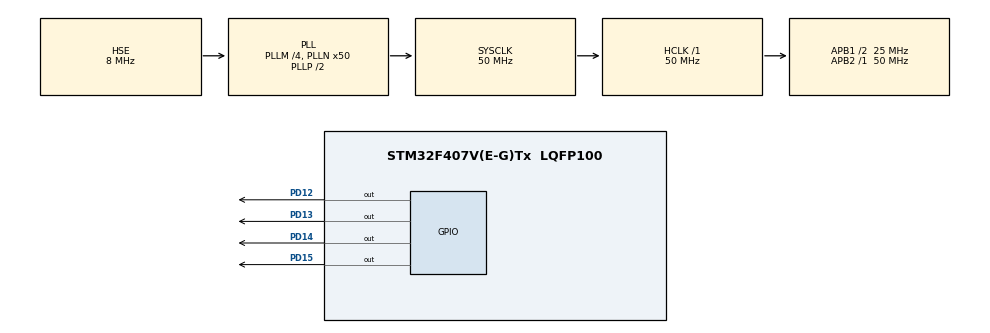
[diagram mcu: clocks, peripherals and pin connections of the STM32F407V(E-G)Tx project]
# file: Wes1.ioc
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Mcu.Family=STM32F4
Mcu.Name=STM32F407V(E-G)Tx
Mcu.Package=LQFP100
NVIC.PriorityGroup=NVIC_PRIORITYGROUP_4
NVIC.TIM2_IRQn=true\:0\:0\:false\:false\:true\:true\:true
PD12.GPIO_Speed=GPIO_SPEED_FREQ_VERY_HIGH
PD12.Signal=GPIO_Output
PD13.GPIO_Speed=GPIO_SPEED_FREQ_VERY_HIGH
PD13.Signal=GPIO_Output
PD14.GPIO_Speed=GPIO_SPEED_FREQ_VERY_HIGH
PD14.Signal=GPIO_Output
PD15.GPIO_Speed=GPIO_SPEED_FREQ_VERY_HIGH
PD15.Signal=GPIO_Output
PH0-OSC_IN.Mode=HSE-External-Oscillator
PH0-OSC_IN.Signal=RCC_OSC_IN
PH1-OSC_OUT.Mode=HSE-External-Oscillator
PH1-OSC_OUT.Signal=RCC_OSC_OUT
ProjectManager.HeapSize=0x200
ProjectManager.StackSize=0x400
ProjectManager.TargetToolchain=STM32CubeIDE
RCC.48MHZClocksFreq_Value=25000000
RCC.AHBFreq_Value=50000000
RCC.APB1CLKDivider=RCC_HCLK_DIV2
RCC.APB1Freq_Value=25000000
RCC.APB1TimFreq_Value=50000000
RCC.APB2Freq_Value=50000000
RCC.APB2TimFreq_Value=50000000
RCC.CortexFreq_Value=50000000
RCC.HCLKFreq_Value=50000000
RCC.HSE_VALUE=8000000
RCC.HSI_VALUE=16000000
RCC.LSE_VALUE=32768
RCC.PLLM=4
RCC.PLLN=50
RCC.PLLSourceVirtual=RCC_PLLSOURCE_HSE
RCC.SYSCLKFreq_VALUE=50000000
RCC.SYSCLKSource=RCC_SYSCLKSOURCE_PLLCLK
RCC.VCOOutputFreq_Value=100000000
TIM2.Period=35999
TIM2.Prescaler=1
VP_TIM2_VS_ClockSourceINT.Mode=Internal
board=custom

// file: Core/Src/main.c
/* USER CODE BEGIN Header */
/**
  ******************************************************************************
  * @file           : main.c
  * @brief          : Main program body
  ******************************************************************************
  * @attention
  *
  * Copyright (c) 2021 STMicroelectronics.
  * All rights reserved.
  *
  * This software is licensed under terms that can be found in the LICENSE file
  * in the root directory of this software component.
  * If no LICENSE file comes with this software, it is provided AS-IS.
  *
  ******************************************************************************
  */
/* USER CODE END Header */
#include "main.h"
#include "tim.h"
#include "gpio.h"

/* USER CODE BEGIN PD */

#define DELAY_MS 1000
/* USER CODE END PD */

void SystemClock_Config(void);

/* USER CODE BEGIN 0 */

/*
void MX_GPIO_Init(void){
GPIO_InitTypeDef GPIO_InitStruct = {0};

__HAL_RCC_GPIOD_CLK_ENABLE();

 HAL_GPIO_WritePin ( LED_GPIOx , LED4_GREEN_PinNumber | LED3_ORANGE_PinNumber | LED5_RED_PinNumber | LED6_BLUE_PinNumber , GPIO_PIN_RESET );

 GPIO_InitStruct.Pin = LED4_GREEN_PinNumber | LED3_ORANGE_PinNumber | LED5_RED_PinNumber | LED6_BLUE_PinNumber;
 GPIO_InitStruct.Mode = GPIO_MODE_OUTPUT_PP;
 GPIO_InitStruct.Pull = GPIO_NOPULL;
 GPIO_InitStruct.Speed = GPIO_SPEED_FREQ_VERY_HIGH;
 HAL_GPIO_Init (GPIOD , &GPIO_InitStruct );
}
*/

/*

void gpio_led_state(uint8_t LED_ID , uint8_t state){

GPIO_PinState pinState;

pinState = ( state == 1) ? GPIO_PIN_SET : GPIO_PIN_RESET;
switch(LED_ID){
	 case LED3_ORANGE_ID:
	 HAL_GPIO_WritePin(GPIOD , LED3_ORANGE_PinNumber , pinState);
	 break;
	 case LED4_GREEN_ID:
	 HAL_GPIO_WritePin(GPIOD , LED4_GREEN_PinNumber , pinState);
	 break;
	 case LED5_RED_ID:
	 HAL_GPIO_WritePin(GPIOD , LED5_RED_PinNumber , pinState);
	 break;
	 case LED6_BLUE_ID:
	 HAL_GPIO_WritePin(GPIOD , LED6_BLUE_PinNumber , pinState);
	 break;
 }
}
*/

int main(void)
{
HAL_Init();
 SystemClock_Config();
 MX_TIM2_Init();
 HAL_TIM_Base_Start_IT(&htim2);
 MX_GPIO_Init();
 while(1)
 {
 timer2_wait_millisec(1000) ;
 gpio_led_state( LED3_ORANGE_ID , 1); // turn on
 gpio_led_state( LED4_GREEN_ID , 1); // turn on
 gpio_led_state( LED5_RED_ID , 0); // turn off
 gpio_led_state( LED6_BLUE_ID , 0); // turn off

 timer2_wait_millisec(1000) ;
 gpio_led_state( LED3_ORANGE_ID , 0); // turn off
 gpio_led_state( LED4_GREEN_ID , 0); // turn off
 gpio_led_state( LED5_RED_ID , 1); // turn on
 gpio_led_state( LED6_BLUE_ID , 1); // turn on
 }
}

/* USER CODE END 0 */

void SystemClock_Config(void)
{
  RCC_OscInitTypeDef RCC_OscInitStruct = {0};
  RCC_ClkInitTypeDef RCC_ClkInitStruct = {0};

  /** Configure the main internal regulator output voltage
  */
  __HAL_RCC_PWR_CLK_ENABLE();
  __HAL_PWR_VOLTAGESCALING_CONFIG(PWR_REGULATOR_VOLTAGE_SCALE1);
  /** Initializes the RCC Oscillators according to the specified parameters
  * in the RCC_OscInitTypeDef structure.
  */
  RCC_OscInitStruct.OscillatorType = RCC_OSCILLATORTYPE_HSE;
  RCC_OscInitStruct.HSEState = RCC_HSE_ON;
  RCC_OscInitStruct.PLL.PLLState = RCC_PLL_ON;
  RCC_OscInitStruct.PLL.PLLSource = RCC_PLLSOURCE_HSE;
  RCC_OscInitStruct.PLL.PLLM = 4;
  RCC_OscInitStruct.PLL.PLLN = 50;
  RCC_OscInitStruct.PLL.PLLP = RCC_PLLP_DIV2;
  RCC_OscInitStruct.PLL.PLLQ = 4;
  if (HAL_RCC_OscConfig(&RCC_OscInitStruct) != HAL_OK)
  {
    Error_Handler();
  }
  /** Initializes the CPU, AHB and APB buses clocks
  */
  RCC_ClkInitStruct.ClockType = RCC_CLOCKTYPE_HCLK|RCC_CLOCKTYPE_SYSCLK
                              |RCC_CLOCKTYPE_PCLK1|RCC_CLOCKTYPE_PCLK2;
  RCC_ClkInitStruct.SYSCLKSource = RCC_SYSCLKSOURCE_PLLCLK;
  RCC_ClkInitStruct.AHBCLKDivider = RCC_SYSCLK_DIV1;
  RCC_ClkInitStruct.APB1CLKDivider = RCC_HCLK_DIV2;
  RCC_ClkInitStruct.APB2CLKDivider = RCC_HCLK_DIV1;

  if (HAL_RCC_ClockConfig(&RCC_ClkInitStruct, FLASH_LATENCY_1) != HAL_OK)
  {
    Error_Handler();
  }
}

void Error_Handler(void)
{
  __disable_irq();
  while (1)
  {
  }
}
